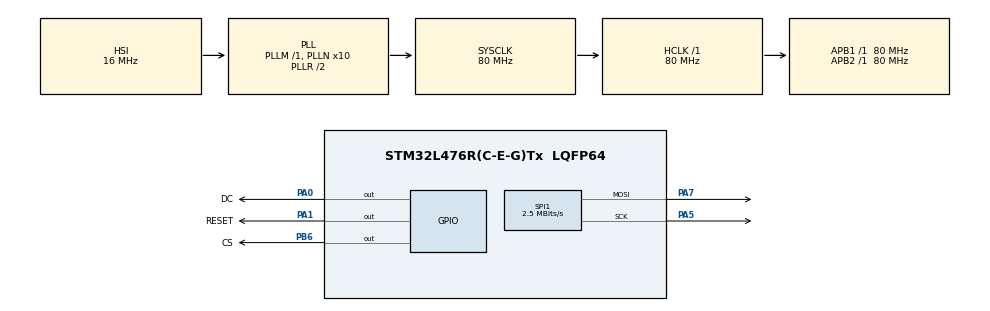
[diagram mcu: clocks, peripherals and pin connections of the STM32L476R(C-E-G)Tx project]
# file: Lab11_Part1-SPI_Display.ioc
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Mcu.Family=STM32L4
Mcu.Name=STM32L476R(C-E-G)Tx
Mcu.Package=LQFP64
NVIC.PriorityGroup=NVIC_PRIORITYGROUP_4
PA0.GPIO_Label=DC
PA0.Signal=GPIO_Output
PA1.GPIO_Label=RESET
PA1.Signal=GPIO_Output
PA13\ (JTMS-SWDIO).GPIO_Label=TMS
PA13\ (JTMS-SWDIO).Mode=Serial_Wire
PA13\ (JTMS-SWDIO).Signal=SYS_JTMS-SWDIO
PA14\ (JTCK-SWCLK).GPIO_Label=TCK
PA14\ (JTCK-SWCLK).Mode=Serial_Wire
PA14\ (JTCK-SWCLK).Signal=SYS_JTCK-SWCLK
PA3.GPIO_Label=USART_RX
PA3.GPIO_Mode=GPIO_MODE_AF_PP
PA3.GPIO_PuPd=GPIO_NOPULL
PA3.GPIO_Speed=GPIO_SPEED_FREQ_VERY_HIGH
PA3.Signal=USART2_RX
PA5.Mode=TX_Only_Simplex_Unidirect_Master
PA5.Signal=SPI1_SCK
PA7.Mode=TX_Only_Simplex_Unidirect_Master
PA7.Signal=SPI1_MOSI
PB3\ (JTDO-TRACESWO).GPIO_Label=SWO
PB3\ (JTDO-TRACESWO).Signal=SYS_JTDO-SWO
PB6.GPIO_Label=CS
PB6.Signal=GPIO_Output
PC14-OSC32_IN\ (PC14).Mode=LSE-External-Oscillator
PC14-OSC32_IN\ (PC14).Signal=RCC_OSC32_IN
PC15-OSC32_OUT\ (PC15).Mode=LSE-External-Oscillator
PC15-OSC32_OUT\ (PC15).Signal=RCC_OSC32_OUT
PH0-OSC_IN\ (PH0).Signal=RCC_OSC_IN
PH1-OSC_OUT\ (PH1).Signal=RCC_OSC_OUT
ProjectManager.HeapSize=0x200
ProjectManager.StackSize=0x400
ProjectManager.TargetToolchain=STM32CubeIDE
RCC.ADCFreq_Value=64000000
RCC.AHBFreq_Value=80000000
RCC.APB1Freq_Value=80000000
RCC.APB1TimFreq_Value=80000000
RCC.APB2Freq_Value=80000000
RCC.APB2TimFreq_Value=80000000
RCC.CortexFreq_Value=80000000
RCC.HCLKFreq_Value=80000000
RCC.HSE_VALUE=8000000
RCC.HSI_VALUE=16000000
RCC.MSI_VALUE=4000000
RCC.PLLN=10
RCC.PLLSourceVirtual=RCC_PLLSOURCE_HSI
RCC.PREFETCH_ENABLE=1
RCC.SYSCLKFreq_VALUE=80000000
RCC.SYSCLKSource=RCC_SYSCLKSOURCE_PLLCLK
RCC.USBFreq_Value=64000000
RCC.VCOOutputFreq_Value=160000000
SPI1.BaudRatePrescaler=SPI_BAUDRATEPRESCALER_32
SPI1.CalculateBaudRate=2.5 MBits/s
SPI1.DataSize=SPI_DATASIZE_8BIT
SPI1.Direction=SPI_DIRECTION_2LINES
SPI1.Mode=SPI_MODE_MASTER
SPI1.VirtualType=VM_MASTER
board=NUCLEO-L476RG

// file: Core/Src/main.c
/* USER CODE BEGIN Header */
/**
  ******************************************************************************
  * @file           : main.c
  * @brief          : Main program body
  ******************************************************************************
  * @attention
  *
  * Copyright (c) 2025 STMicroelectronics.
  * All rights reserved.
  *
  * This software is licensed under terms that can be found in the LICENSE file
  * in the root directory of this software component.
  * If no LICENSE file comes with this software, it is provided AS-IS.
  *
  ******************************************************************************
  */
/* USER CODE END Header */
#include "main.h"

/* USER CODE BEGIN PM */
#define CE_PORT 	GPIOB // PB6 chip enable (aka slave select)
#define CE_PIN 		GPIO_PIN_6

#define DC_PORT 	GPIOA // PA0 data/control
#define DC_PIN 		GPIO_PIN_0

#define RESET_PORT 	GPIOA // PA1 reset
#define RESET_PIN 	GPIO_PIN_1

#define GLCD_WIDTH 	84
#define GLCD_HEIGHT 48
#define NUM_BANKS	 6
/* USER CODE END PM */

SPI_HandleTypeDef hspi1;

/* USER CODE BEGIN PV */
const char font_table[][6] = {
	{0x00, 0x00, 0x00, 0x00, 0x00, 0x00}, // space
	{0x7E, 0x11, 0x11, 0x11, 0x7E, 0x00}, // 'A'
	{0x7F, 0x49, 0x49, 0x49, 0x36, 0x00}, // 'B'
	{0x3E, 0x41, 0x41, 0x41, 0x22, 0x00}, // 'C'
	{0x7F, 0x41, 0x41, 0x41, 0x3E, 0x00}, // 'D'
	{0x7F, 0x49, 0x49, 0x49, 0x41, 0x00}, // 'E'
	{0x7F, 0x09, 0x09, 0x09, 0x01, 0x00}, // 'F'
	{0x3E, 0x41, 0x49, 0x49, 0x7A, 0x00}, // 'G'
	{0x7F, 0x08, 0x08, 0x08, 0x7F, 0x00}, // 'H'
	{0x41, 0x41, 0x7F, 0x41, 0x41, 0x00}, // 'I'
	{0x20, 0x40, 0x40, 0x40, 0x3F, 0x00}, // 'J'
	{0x7F, 0x08, 0x14, 0x22, 0x41, 0x00}, // 'K'
	{0x7F, 0x40, 0x40, 0x40, 0x40, 0x00}, // 'L'
	{0x7F, 0x02, 0x0C, 0x02, 0x7F, 0x00}, // 'M'
	{0x7F, 0x04, 0x08, 0x10, 0x7F, 0x00}, // 'N'
	{0x3E, 0x41, 0x41, 0x41, 0x3E, 0x00}, // 'O'
	{0x7F, 0x09, 0x09, 0x09, 0x06, 0x00}, // 'P'
	{0x3E, 0x41, 0x51, 0x61, 0x7E, 0x00}, // 'Q'
	{0x7F, 0x09, 0x19, 0x29, 0x46, 0x00}, // 'R'
	{0x26, 0x49, 0x49, 0x49, 0x32, 0x00}, // 'S'
	{0x01, 0x01, 0x7F, 0x01, 0x01, 0x00}, // 'T'
	{0x3F, 0x40, 0x40, 0x40, 0x3F, 0x00}, // 'U'
	{0x1F, 0x20, 0x40, 0x20, 0x1F, 0x00}, // 'V'
	{0x3F, 0x40, 0x38, 0x40, 0x3F, 0x00}, // 'W'
	{0x63, 0x14, 0x08, 0x14, 0x63, 0x00}, // 'X'
	{0x03, 0x04, 0x78, 0x04, 0x03, 0x00}, // 'Y'
	{0x61, 0x51, 0x49, 0x45, 0x43, 0x00}, // 'Z'
	{0x00, 0x00, 0x5F, 0x00, 0x00, 0x00}, // '!'
	{0x00, 0x00, 0x7E, 0x81, 0xB5, 0xA1}, // left half of smiley face
	{0xA1, 0xB5, 0x81, 0x7E, 0x00, 0x00}, // right half of smiley face
};

/* USER CODE END PV */

void SystemClock_Config(void);
static void MX_GPIO_Init(void);
static void MX_SPI1_Init(void);
/* USER CODE BEGIN PFP */
void SPI_write(unsigned char data);
void GLCD_data_write(unsigned char data);
void GLCD_command_write(unsigned char data);
void GLCD_init(void);
void GLCD_setCursor(unsigned char x, unsigned char y);
void GLCD_clear(void);
void GLCD_putchar(int font_table_row);
/* USER CODE END PFP */

int main(void)
{

  /* MCU Configuration--------------------------------------------------------*/

  /* Reset of all peripherals, Initializes the Flash interface and the Systick. */
  HAL_Init();

  /* Configure the system clock */
  SystemClock_Config();

  /* Initialize all configured peripherals */
  MX_GPIO_Init();
  MX_SPI1_Init();

  /* USER CODE BEGIN 2 */
  GLCD_init(); 		// initialize the screen
  GLCD_clear(); 	// clear the screen
  GLCD_putchar(8);  // 'H'
  GLCD_putchar(5);  // 'E'
  GLCD_putchar(12); // 'L'
  GLCD_putchar(12); // 'L'
  GLCD_putchar(15); // 'O'
  GLCD_putchar(0);  // space
  GLCD_putchar(23); // 'W'
  GLCD_putchar(15); // 'O'
  GLCD_putchar(18); // 'R'
  GLCD_putchar(12); // 'L'
  GLCD_putchar(4);  // 'D'
  GLCD_putchar(27); // '!'
  GLCD_putchar(28); // left smiley face
  GLCD_putchar(29); // right smiley face
  /* USER CODE END 2 */

  /* Infinite loop */
  while (1)
  {

  }
}

void SystemClock_Config(void)
{
  RCC_OscInitTypeDef RCC_OscInitStruct = {0};
  RCC_ClkInitTypeDef RCC_ClkInitStruct = {0};

  /** Configure the main internal regulator output voltage
  */
  if (HAL_PWREx_ControlVoltageScaling(PWR_REGULATOR_VOLTAGE_SCALE1) != HAL_OK)
  {
    Error_Handler();
  }

  /** Initializes the RCC Oscillators according to the specified parameters
  * in the RCC_OscInitTypeDef structure.
  */
  RCC_OscInitStruct.OscillatorType = RCC_OSCILLATORTYPE_HSI;
  RCC_OscInitStruct.HSIState = RCC_HSI_ON;
  RCC_OscInitStruct.HSICalibrationValue = RCC_HSICALIBRATION_DEFAULT;
  RCC_OscInitStruct.PLL.PLLState = RCC_PLL_ON;
  RCC_OscInitStruct.PLL.PLLSource = RCC_PLLSOURCE_HSI;
  RCC_OscInitStruct.PLL.PLLM = 1;
  RCC_OscInitStruct.PLL.PLLN = 10;
  RCC_OscInitStruct.PLL.PLLP = RCC_PLLP_DIV7;
  RCC_OscInitStruct.PLL.PLLQ = RCC_PLLQ_DIV2;
  RCC_OscInitStruct.PLL.PLLR = RCC_PLLR_DIV2;
  if (HAL_RCC_OscConfig(&RCC_OscInitStruct) != HAL_OK)
  {
    Error_Handler();
  }

  /** Initializes the CPU, AHB and APB buses clocks
  */
  RCC_ClkInitStruct.ClockType = RCC_CLOCKTYPE_HCLK|RCC_CLOCKTYPE_SYSCLK
                              |RCC_CLOCKTYPE_PCLK1|RCC_CLOCKTYPE_PCLK2;
  RCC_ClkInitStruct.SYSCLKSource = RCC_SYSCLKSOURCE_PLLCLK;
  RCC_ClkInitStruct.AHBCLKDivider = RCC_SYSCLK_DIV1;
  RCC_ClkInitStruct.APB1CLKDivider = RCC_HCLK_DIV1;
  RCC_ClkInitStruct.APB2CLKDivider = RCC_HCLK_DIV1;

  if (HAL_RCC_ClockConfig(&RCC_ClkInitStruct, FLASH_LATENCY_4) != HAL_OK)
  {
    Error_Handler();
  }
}

static void MX_SPI1_Init(void)
{

  /* SPI1 parameter configuration*/
  hspi1.Instance = SPI1;
  hspi1.Init.Mode = SPI_MODE_MASTER;
  hspi1.Init.Direction = SPI_DIRECTION_2LINES;
  hspi1.Init.DataSize = SPI_DATASIZE_8BIT;
  hspi1.Init.CLKPolarity = SPI_POLARITY_LOW;
  hspi1.Init.CLKPhase = SPI_PHASE_1EDGE;
  hspi1.Init.NSS = SPI_NSS_SOFT;
  hspi1.Init.BaudRatePrescaler = SPI_BAUDRATEPRESCALER_32;
  hspi1.Init.FirstBit = SPI_FIRSTBIT_MSB;
  hspi1.Init.TIMode = SPI_TIMODE_DISABLE;
  hspi1.Init.CRCCalculation = SPI_CRCCALCULATION_DISABLE;
  hspi1.Init.CRCPolynomial = 7;
  hspi1.Init.CRCLength = SPI_CRC_LENGTH_DATASIZE;
  hspi1.Init.NSSPMode = SPI_NSS_PULSE_ENABLE;
  if (HAL_SPI_Init(&hspi1) != HAL_OK)
  {
    Error_Handler();
  }

}

static void MX_GPIO_Init(void)
{
  GPIO_InitTypeDef GPIO_InitStruct = {0};

  /* GPIO Ports Clock Enable */
  __HAL_RCC_GPIOC_CLK_ENABLE();
  __HAL_RCC_GPIOH_CLK_ENABLE();
  __HAL_RCC_GPIOA_CLK_ENABLE();
  __HAL_RCC_GPIOB_CLK_ENABLE();

  /*Configure GPIO pin Output Level */
  HAL_GPIO_WritePin(GPIOA, DC_Pin|RESET_Pin, GPIO_PIN_RESET);

  /*Configure GPIO pin Output Level */
  HAL_GPIO_WritePin(CS_GPIO_Port, CS_Pin, GPIO_PIN_RESET);

  /*Configure GPIO pins : DC_Pin RESET_Pin */
  GPIO_InitStruct.Pin = DC_Pin|RESET_Pin;
  GPIO_InitStruct.Mode = GPIO_MODE_OUTPUT_PP;
  GPIO_InitStruct.Pull = GPIO_NOPULL;
  GPIO_InitStruct.Speed = GPIO_SPEED_FREQ_LOW;
  HAL_GPIO_Init(GPIOA, &GPIO_InitStruct);

  /*Configure GPIO pin : USART_RX_Pin */
  GPIO_InitStruct.Pin = USART_RX_Pin;
  GPIO_InitStruct.Mode = GPIO_MODE_AF_PP;
  GPIO_InitStruct.Pull = GPIO_NOPULL;
  GPIO_InitStruct.Speed = GPIO_SPEED_FREQ_VERY_HIGH;
  GPIO_InitStruct.Alternate = GPIO_AF7_USART2;
  HAL_GPIO_Init(USART_RX_GPIO_Port, &GPIO_InitStruct);

  /*Configure GPIO pin : CS_Pin */
  GPIO_InitStruct.Pin = CS_Pin;
  GPIO_InitStruct.Mode = GPIO_MODE_OUTPUT_PP;
  GPIO_InitStruct.Pull = GPIO_NOPULL;
  GPIO_InitStruct.Speed = GPIO_SPEED_FREQ_LOW;
  HAL_GPIO_Init(CS_GPIO_Port, &GPIO_InitStruct);

}

/* USER CODE BEGIN 4 */
void SPI_write(unsigned char data){
	// Chip Enable (low is asserted)
	HAL_GPIO_WritePin(CE_PORT, CE_PIN, GPIO_PIN_RESET);
	// Send data over SPI1
	HAL_SPI_Transmit(&hspi1, (uint8_t*) &data, 1, HAL_MAX_DELAY);
	// Chip Disable
	HAL_GPIO_WritePin(CE_PORT, CE_PIN, GPIO_PIN_SET);
}

void GLCD_data_write(unsigned char data){
	// Switch to "data" mode (D/C pin high)
	HAL_GPIO_WritePin(DC_PORT, DC_PIN, GPIO_PIN_SET);
	// Send data over SPI
	SPI_write(data);
}

void GLCD_command_write(unsigned char data){
	// Switch to "command" mode (D/C pin low)
	HAL_GPIO_WritePin(DC_PORT, DC_PIN, GPIO_PIN_RESET);
	// Send data over SPI
	SPI_write(data);
}

void GLCD_init(void){
	// Keep CE high when not transmitting
	HAL_GPIO_WritePin(CE_PORT, CE_PIN, GPIO_PIN_SET);
	// Reset the screen (low pulse - down & up)
	HAL_GPIO_WritePin(RESET_PORT, RESET_PIN, GPIO_PIN_RESET);
	HAL_GPIO_WritePin(RESET_PORT, RESET_PIN, GPIO_PIN_SET);
	// Configure the screen (according to the datasheet)
	GLCD_command_write(0x21); // enter extended command mode
	// may need to change
	GLCD_command_write(0xC0); // set LCD Vop for contrast (this may be adjusted)
	GLCD_command_write(0x04); // set temp coefficient
	// may need to change
	GLCD_command_write(0x17); // set LCD bias mode (this may be adjusted)
	GLCD_command_write(0x20); // return to normal command mode
	GLCD_command_write(0x0C); // set display mode normal
}

void GLCD_setCursor(unsigned char x, unsigned char y){
	GLCD_command_write(0x80 | x); // column
	GLCD_command_write(0x40 | y); // bank
}

void GLCD_clear(void){
	int i;
	for(i = 0; i < (GLCD_WIDTH * NUM_BANKS); i++){
		GLCD_data_write(0x00); // write zeros
	}
	GLCD_setCursor(0,0); // return cursor to top left
}

void GLCD_putchar(int font_table_row){
	 int i;
	 for (i=0; i<6; i++){
		 GLCD_data_write(font_table[font_table_row][i]);
	 }
}

/* USER CODE END 4 */

void Error_Handler(void)
{
  __disable_irq();
  while (1)
  {
  }
}
